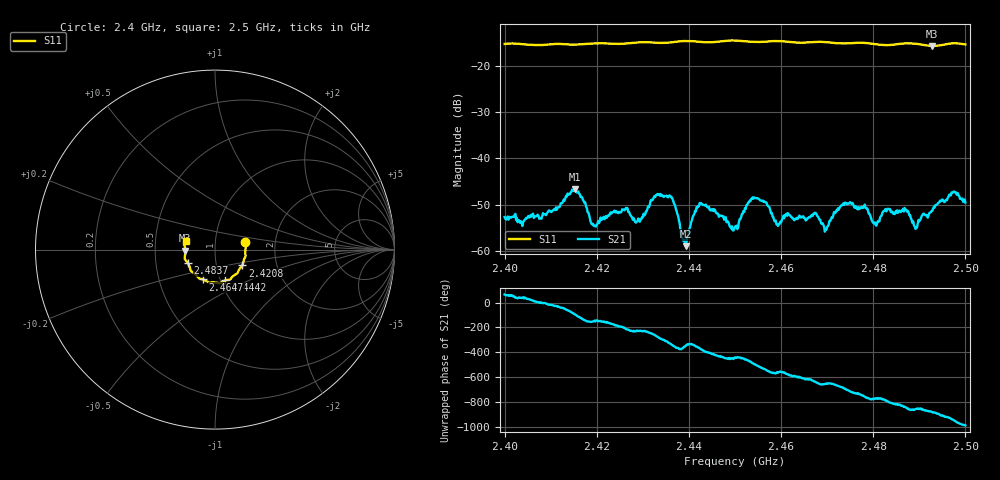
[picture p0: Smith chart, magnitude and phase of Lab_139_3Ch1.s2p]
# Hz S RI R 50
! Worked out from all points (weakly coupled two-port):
!   601 points, 2.4 GHz to 2.5 GHz, reference 50 ohm
!   highest |S21| = -46.69 dB at 2.4153 GHz (marker M1); lowest = -59.0 dB at 2.4393 GHz (marker M2)
!   lowest |S11| = -15.6 dB at 2.4928 GHz (marker M3), VSWR 1.40, Z = 35.8 - j0.439 ohm
!   |S11| at or under -10 dB: start of sweep to end of sweep
!   S12 and S22 are empty: the file has one direction only
!   S11 on the Smith chart (normalised r, x): 2.4 GHz: 1.40, +0.12; 2.4208 GHz: 1.33, -0.24; 2.4442 GHz: 1.05, -0.37; 2.4647 GHz: 0.83, -0.29; 2.4837 GHz: 0.73, -0.11; 2.5 GHz: 0.71, +0.07
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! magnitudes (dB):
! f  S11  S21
! 2.4 GHz  -15.2  -52.7
! 2.4153 GHz  -15.3  -46.7
! 2.4167 GHz  -15.3  -48.3
! 2.4192 GHz  -15.1  -54.2
! 2.4208 GHz  -15.1  -52.8
! 2.4288 GHz  -14.9  -53.6
! 2.4333 GHz  -15.0  -47.8
! 2.4363 GHz  -14.8  -48.5
! 2.4393 GHz  -14.6  -59.0
! 2.4418 GHz  -14.7  -50.7
! 2.4442 GHz  -14.9  -50.6
! 2.45 GHz  -14.5  -54.7
! 2.454 GHz  -14.8  -48.7
! 2.4592 GHz  -14.6  -54.4
! 2.4647 GHz  -14.9  -52.6
! 2.4667 GHz  -14.8  -52.3
! 2.4698 GHz  -14.8  -55.4
! 2.4833 GHz  -15.5  -50.9
! 2.4837 GHz  -15.4  -51.0
! 2.4892 GHz  -15.2  -55.3
! 2.4928 GHz  -15.6  -51.3
! 2.5 GHz  -15.3  -49.6
